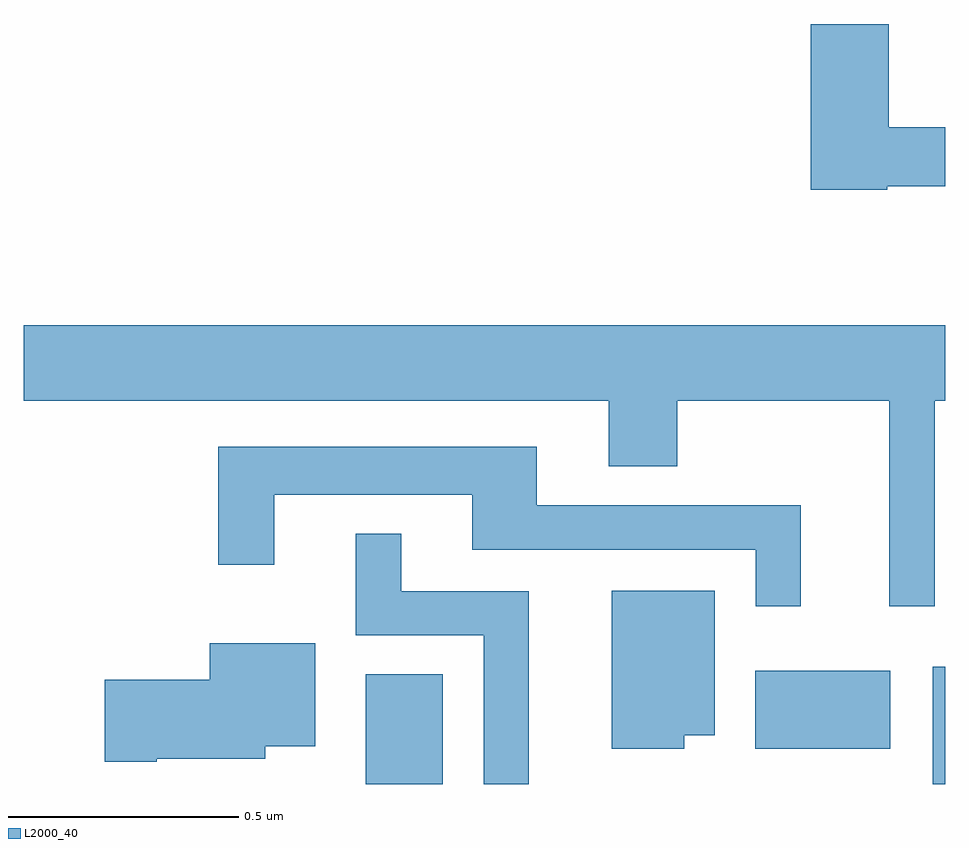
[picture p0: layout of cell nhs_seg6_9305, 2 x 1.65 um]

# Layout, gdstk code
import gdstk
lib = gdstk.Library(unit=1e-6, precision=1e-09)
def R(c, l, rs):  # rectangles x0, y0, x1, y1
    for r in rs: c.add(gdstk.rectangle(r[:2], r[2:], *l))
def P(c, l, *ps):  # polygons
    for p in ps: c.add(gdstk.Polygon(p, *l))
L2000_40 = (2000, 40)

nhs_seg6_9305 = lib.new_cell('nhs_seg6_9305')
R(nhs_seg6_9305, L2000_40, [(232.742,950.5,232.909,950.738), (233.973,950.5,234,950.755), (233.588,950.576,233.881,950.746)])
P(nhs_seg6_9305, L2000_40, [(233.874,951.798),(234,951.798),(234,951.926),(233.878,951.926),(233.878,952.15),(233.708,952.15),(233.708,951.79),(233.874,951.79)],
  [(233.977,951.332),(234,951.332),(234,951.496),(232,951.496),(232,951.332),(233.27,951.332),(233.27,951.19),(233.418,951.19),(233.418,951.332),(233.879,951.332),(233.879,950.886),(233.977,950.886)],
  [(233.687,951.105),(233.113,951.105),(233.113,951.232),(232.422,951.232),(232.422,950.976),(232.543,950.976),(232.543,951.128),(232.973,951.128),(232.973,951.009),(233.589,951.009),(233.589,950.886),(233.687,950.886)],
  [(233.096,950.919),(232.819,950.919),(232.819,951.043),(232.721,951.043),(232.721,950.823),(232.998,950.823),(232.998,950.5),(233.096,950.5)],
  [(233.434,950.606),(233.5,950.606),(233.5,950.92),(233.276,950.92),(233.276,950.576),(233.434,950.576)],
  [(232.288,950.555),(232.524,950.555),(232.524,950.582),(232.633,950.582),(232.633,950.806),(232.403,950.806),(232.403,950.726),(232.176,950.726),(232.176,950.548),(232.288,950.548)])

lib.write_gds('nhs_seg6_9305.gds')
